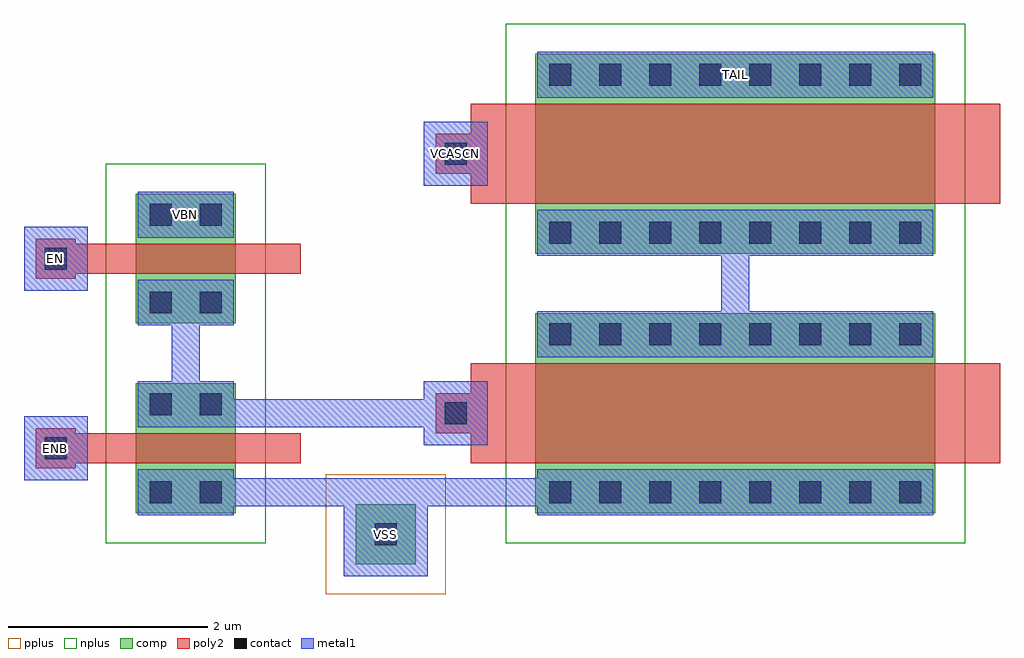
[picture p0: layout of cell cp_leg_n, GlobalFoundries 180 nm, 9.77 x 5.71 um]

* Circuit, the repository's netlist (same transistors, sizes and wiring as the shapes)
* Extracted by KLayout with GF180MCU LVS runset on : 08/09/2026 19:04

.SUBCKT cp_leg_n EN ENB TAIL VBN VCASCN VSS
M$1 TAIL VCASCN \$6 VSS nfet_03v3 L=1U W=4U AS=2P AD=2P PS=9U PD=9U
M$2 VBN EN \$2 VSS nfet_03v3 L=0.3U W=1U AS=0.5P AD=0.5P PS=3U PD=3U
M$3 \$6 \$2 VSS VSS nfet_03v3 L=1U W=4U AS=2P AD=2P PS=9U PD=9U
M$4 \$2 ENB VSS VSS nfet_03v3 L=0.3U W=1U AS=0.5P AD=0.5P PS=3U PD=3U
.ENDS cp_leg_n

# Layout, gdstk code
import gdstk
lib = gdstk.Library(unit=1e-6, precision=1e-09)
def R(c, l, rs):  # rectangles x0, y0, x1, y1
    for r in rs: c.add(gdstk.rectangle(r[:2], r[2:], *l))
def A(c, l, x, y, w, h, nx, ny, dx, dy):  # array of equal rectangles
    R(c, l, [(x+i*dx, y+j*dy, x+i*dx+w, y+j*dy+h) for i in range(nx) for j in range(ny)])
comp = (22, 0)
poly2 = (30, 0)
pplus = (31, 0)
nplus = (32, 0)
contact = (33, 0)
metal1 = (34, 0)

cp_leg_n = lib.new_cell('cp_leg_n')
R(cp_leg_n, comp, [(2.2,-0.51,2.8,0.09), (0,0,1,1.3), (4,0,8,2), (0,1.9,1,3.2), (4,2.6,8,4.6)])
R(cp_leg_n, poly2, [(-1,0.45,-0.6,0.85), (-0.65,0.5,1.65,0.8), (3.35,0.5,8.65,1.5), (3,0.8,3.4,1.2), (-1,2.35,-0.6,2.75), (-0.65,2.4,1.65,2.7), (3.35,3.1,8.65,4.1), (3,3.4,3.4,3.8)])
R(cp_leg_n, pplus, [(1.9,-0.81,3.1,0.39)])
R(cp_leg_n, nplus, [(-0.3,-0.3,1.3,1.6), (3.7,-0.3,8.3,2.3), (-0.3,1.6,1.3,3.5), (3.7,2.3,8.3,4.9)])
A(cp_leg_n, contact, 4.14, 0.1, 0.22, 0.22, 8, 2, 0.5, 1.58)
A(cp_leg_n, contact, 4.14, 2.7, 0.22, 0.22, 8, 2, 0.5, 1.58)
R(cp_leg_n, contact, [(2.39,-0.32,2.61,-0.1), (0.14,0.1,0.36,0.32), (0.64,0.1,0.86,0.32), (-0.91,0.54,-0.69,0.76), (3.09,0.89,3.31,1.11), (0.14,0.98,0.36,1.2), (0.64,0.98,0.86,1.2), (0.14,2,0.36,2.22), (0.64,2,0.86,2.22), (-0.91,2.44,-0.69,2.66), (0.14,2.88,0.36,3.1), (0.64,2.88,0.86,3.1), (3.09,3.49,3.31,3.71)])
R(cp_leg_n, metal1, [(2.08,-0.63,2.92,0.21), (0.02,-0.02,0.98,0.44), (4.02,-0.02,7.98,0.44), (0.98,0.07,4.02,0.35), (-1.12,0.33,-0.48,0.97), (2.88,0.68,3.52,1.32), (0.02,0.86,0.98,1.32), (0.98,0.86,3.52,1.14), (0.36,1.32,0.64,1.88), (4.02,1.56,7.98,2.02), (0.02,1.88,0.98,2.34), (5.86,2.02,6.14,2.58), (-1.12,2.23,-0.48,2.87), (4.02,2.58,7.98,3.04), (0.02,2.76,0.98,3.22), (2.88,3.28,3.52,3.92), (4.02,4.16,7.98,4.62)])
cp_leg_n.add(gdstk.Label('EN', (-0.8,2.55), layer=34, texttype=10))
cp_leg_n.add(gdstk.Label('ENB', (-0.8,0.65), layer=34, texttype=10))
cp_leg_n.add(gdstk.Label('VBN', (0.5,2.99), layer=34, texttype=10))
cp_leg_n.add(gdstk.Label('VCASCN', (3.2,3.6), layer=34, texttype=10))
cp_leg_n.add(gdstk.Label('TAIL', (6,4.39), layer=34, texttype=10))
cp_leg_n.add(gdstk.Label('VSS', (2.5,-0.21), layer=34, texttype=10))

lib.write_gds('cp_leg_n.gds')
